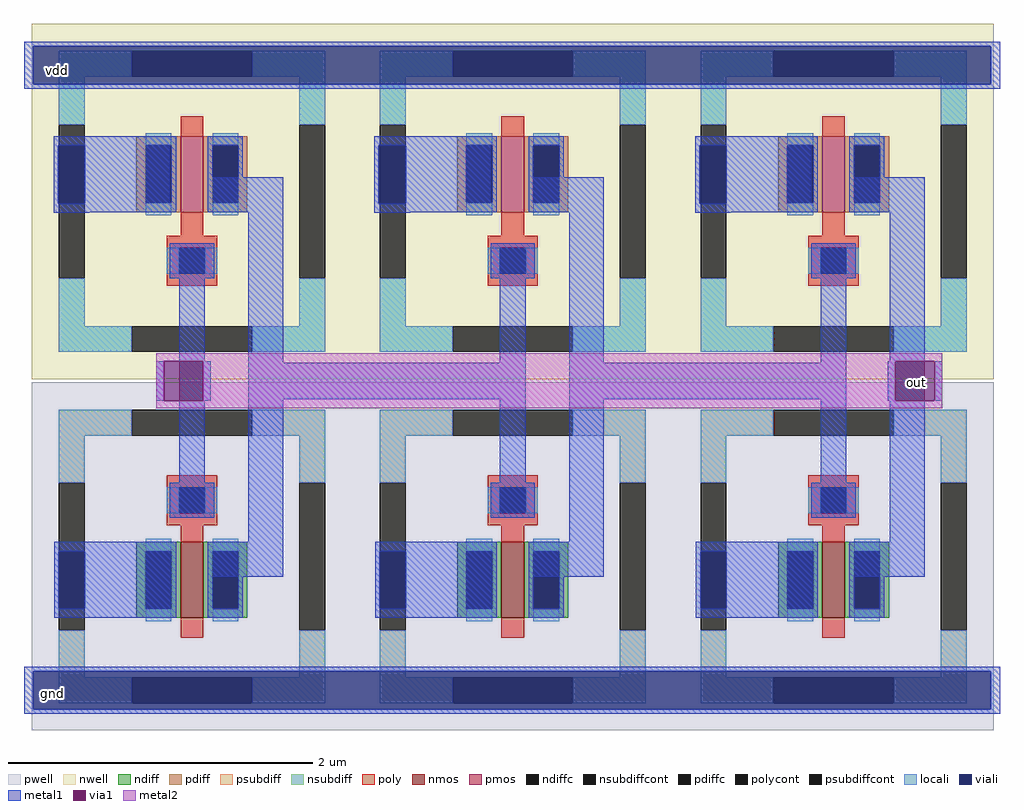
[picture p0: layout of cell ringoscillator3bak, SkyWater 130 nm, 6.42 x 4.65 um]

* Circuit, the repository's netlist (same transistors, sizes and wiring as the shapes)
** sch_path: /home/jay_mosfet/ringoscillator_backup/ringoscillator3bak.sch
.subckt ringoscillator3bak vdd gnd out
*.PININFO vdd:I gnd:I out:O
x1 vdd out net1 gnd INVERTER_DIY
x2 vdd net1 net2 gnd INVERTER_DIY
x3 vdd net2 out gnd INVERTER_DIY
.ends

* expanding   symbol:  /home/jay_mosfet/latihan_cmos/INVERTER_DIY.sym # of pins=4
** sym_path: /home/jay_mosfet/latihan_cmos/INVERTER_DIY.sym
** sch_path: /home/jay_mosfet/latihan_cmos/INVERTER_DIY.sch
.subckt INVERTER_DIY Vdd IN_SIG OUT_SIG GND
*.PININFO IN_SIG:I Vdd:I GND:I OUT_SIG:O
XM1 OUT_SIG IN_SIG Vdd Vdd sky130_fd_pr__pfet_01v8 L=0.15 W=0.5 nf=1 m=1
XM2 OUT_SIG IN_SIG GND GND sky130_fd_pr__nfet_01v8 L=0.15 W=0.5 nf=1 m=1
.ends

.end

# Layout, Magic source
magic
tech sky130A
magscale 1 2
<< viali >>
rect 2 850 1262 900
rect 2 28 1262 78
<< metal1 >>
rect -10 900 1274 906
rect -10 850 2 900
rect 1262 850 1274 900
rect -10 844 1274 850
rect 164 434 174 486
rect 226 434 236 486
rect 286 436 646 484
rect 710 436 1070 484
rect 1126 434 1136 486
rect 1188 434 1198 486
rect -10 78 1274 84
rect -10 28 2 78
rect 1262 28 1274 78
rect -10 22 1274 28
<< via1 >>
rect 174 434 226 486
rect 1136 434 1188 486
<< metal2 >>
rect 164 486 1198 496
rect 164 434 174 486
rect 226 434 1136 486
rect 1188 434 1198 486
rect 164 424 1198 434
use INVERTER_DIY  x1
transform 1 0 53 0 1 -553
box -53 553 369 1483
use INVERTER_DIY  x2
transform 1 0 475 0 1 -553
box -53 553 369 1483
use INVERTER_DIY  x3
transform 1 0 897 0 1 -553
box -53 553 369 1483
<< labels >>
flabel viali 34 868 34 868 0 FreeSans 160 0 0 0 vdd
port 1 nsew
flabel viali 28 48 28 48 0 FreeSans 160 0 0 0 gnd
port 3 nsew
flabel via1 1164 458 1164 458 0 FreeSans 160 0 0 0 out
port 5 nsew
<< end >>

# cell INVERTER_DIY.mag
magic
tech sky130A
magscale 1 2
<< viali >>
rect -18 1246 17 1323
rect -17 713 17 789
<< metal1 >>
rect -24 1323 129 1335
rect -24 1246 -18 1323
rect 17 1246 129 1323
rect -24 1235 129 1246
rect 185 1235 278 1281
rect -24 1234 23 1235
rect 141 839 175 1188
rect 232 801 278 1235
rect -23 789 131 801
rect -23 713 -17 789
rect 17 713 131 789
rect 179 755 278 801
rect -23 701 131 713
use sky130_fd_pr__pfet_01v8_LJ7GBL  XM1
transform 1 0 158 0 1 1249
box -211 -234 211 234
use sky130_fd_pr__nfet_01v8_L9KS9E  XM2
transform 1 0 158 0 1 782
box -211 -229 211 229
<< labels >>
flabel metal1 40 1289 40 1289 0 FreeSans 160 0 0 0 Vdd
port 1 nsew
flabel metal1 50 757 50 757 0 FreeSans 160 0 0 0 GND
port 3 nsew
flabel metal1 161 1003 161 1003 0 FreeSans 160 0 0 0 IN_SIG
port 5 nsew
flabel metal1 259 863 259 863 0 FreeSans 160 0 0 0 OUT_SIG
port 7 nsew
<< end >>

# cell sky130_fd_pr__pfet_01v8_LJ7GBL: kit device sky130_fd_pr__pfet_01v8, w 0.5 l 0.15 m 1 nf 1 diffcov 100 polycov 100 guard 1 glc 1 grc 1 gtc 1 gbc 1 tbcov 100 rlcov 100 topc 0 botc 1 poverlap 0 doverlap 1 lmin 0.15 wmin 0.42 compatible {sky130_fd_pr__pfet_01v8 sky130_fd_pr__pfet_01v8_lvt sky130_fd_pr__pfet_01v8_hvt sky130_fd_pr__pfet_g5v0d10v5} full_metal 1 viasrc 100 viadrn 100 viagate 100 viagb 0 viagr 0 viagl 0 viagt 0

# cell sky130_fd_pr__nfet_01v8_L9KS9E: kit device sky130_fd_pr__nfet_01v8, w 0.5 l 0.15 m 1 nf 1 diffcov 100 polycov 100 guard 1 glc 1 grc 1 gtc 1 gbc 1 tbcov 100 rlcov 100 topc 1 botc 0 poverlap 0 doverlap 1 lmin 0.15 wmin 0.42 compatible {sky130_fd_pr__nfet_01v8 sky130_fd_pr__nfet_01v8_lvt sky130_fd_bs_flash__special_sonosfet_star sky130_fd_pr__nfet_g5v0d10v5 sky130_fd_pr__nfet_05v0_nvt sky130_fd_pr__nfet_03v3_nvt} full_metal 1 viasrc 100 viadrn 100 viagate 100 viagb 0 viagr 0 viagl 0 viagt 0
